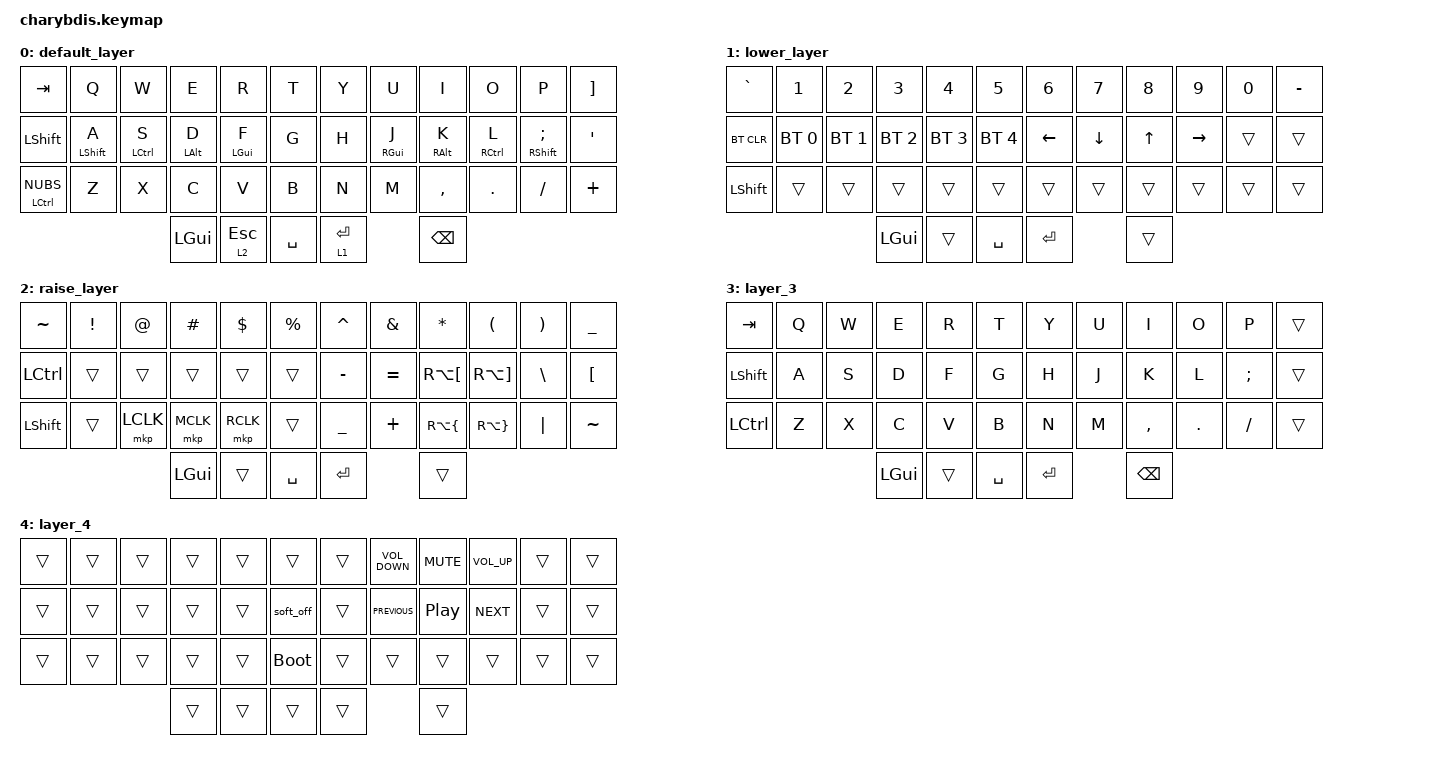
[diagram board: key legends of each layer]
#include <behaviors/mouse_keys.dtsi>
#include <behaviors.dtsi>
#include <dt-bindings/zmk/bt.h>
#include <dt-bindings/zmk/keys.h>
#include <dt-bindings/zmk/mouse.h>
#include <dt-bindings/zmk/outputs.h>

/ {
    chosen { zmk,matrix_transform = &default_transform; };
};

/ {
    behaviors {
        hml: homewrow_mods_left {
            compatible = "zmk,behavior-hold-tap";
            label = "homewrow_mods_left";
            bindings = <&kp>, <&kp>;

            #binding-cells = <2>;
            quick-tap-ms = <175>;
            tapping-term-ms = <200>;
            require-prior-idle-ms = <150>;
            hold-trigger-key-positions = <31 39 40 41 30 18 19 32 20 21 33 35 34 23 22 10 11 9 8 7 6>;
            flavor = "balanced";
            hold-trigger-on-release;             // delay positional check until key-release
        };
       
        hmr: homewrow_mods_right {
            compatible = "zmk,behavior-hold-tap";
            label = "HOMEROW_MODS_RIGHT_HAND";
            bindings = <&kp>, <&kp>;

            #binding-cells = <2>;
            quick-tap-ms = <175>;
            tapping-term-ms = <200>;
            require-prior-idle-ms = <150>;
            hold-trigger-key-positions = <38 0 1 2 3 4 5 12 13 14 15 16 17 24 25 26 27 28 29 36 37 38>;
            flavor = "balanced";
            hold-trigger-on-release;             // delay positional check until key-release
        };

        layers: layers {
            compatible = "zmk,behavior-hold-tap";
            label = "LAYERS";
            bindings = <&mo>, <&kp>;

            #binding-cells = <2>;
            tapping-term-ms = <200>;
            quick-tap-ms = <0>;
            require-prior-idle-ms = <0>;
            flavor = "balanced";
        };
    };

    combos {
        compatible = "zmk,combos";

        CapsWord {
            bindings = <&caps_word>;
            key-positions = <17 18>;
            layers = <0>;
        };


    };

    macros {
        VSplit: VSplit {
            compatible = "zmk,behavior-macro";
            #binding-cells = <0>;
            bindings = <&kp LEFT_SHIFT &kp SEMI &kp LS(V) &kp LS(S) &kp LS(P) &kp RET>;
            label = "VSPLIT";
        };

        HSplit: HSplit {
            compatible = "zmk,behavior-macro";
            #binding-cells = <0>;
            bindings = <&kp LEFT_SHIFT &kp SEMI &kp LS(S) &kp LS(P) &kp RET>;
            label = "HSPLIT";
        };
    };

keymap {
        compatible = "zmk,keymap";

        default_layer {
            // -----------------------------------------------------------------------------------------
            // |  TAB |  Q  |  W  |  E  |  R  |  T  |   |  Y  |  U   |  I  |  O  |  P  | BKSP |
            // | CTRL |  A  |  S  |  D  |  F  |  G  |   |  H  |  J   |  K  |  L  |  ;  |  '   |
            // | SHFT |  Z  |  X  |  C  |  V  |  B  |   |  N  |  M   |  ,  |  .  |  /  | ESC  |
            //                    | GUI | LWR | SPC |   | ENT | RSE  | ALT |

            bindings = <
&kp TAB         &kp Q              &kp W         &kp E            &kp R             &kp T        &kp Y  &kp U          &kp I             &kp O         &kp P            &kp RIGHT_BRACKET
&kp LSHFT       &hml LEFT_SHIFT A  &hml LCTRL S  &hml LEFT_ALT D  &hml LGUI F       &kp G        &kp H  &hmr RGUI J    &hmr RIGHT_ALT K  &hmr RCTRL L  &hmr RSHFT SEMI  &kp SQT
&mt LCTRL NUBS  &kp Z              &kp X         &kp C            &kp V             &kp B        &kp N  &kp M          &kp COMMA         &kp DOT       &kp FSLH         &kp PLUS
                                                 &kp LGUI         &layers 2 ESCAPE  &kp SPACE    &layers 1 ENTER  &kp BACKSPACE 
            >;
        };

        lower_layer {
            // -----------------------------------------------------------------------------------------
            // |  TAB |  1  |  2  |  3  |  4  |  5  |   |  6  |  7  |  8  |  9  |  0  | BKSP |
            // | BTCLR| BT1 | BT2 | BT3 | BT4 | BT5 |   | LFT | DWN |  UP | RGT |     |      |
            // | SHFT |     |     |     |     |     |   |     |     |     |     |     |      |
            //                    | GUI |     | SPC |   | ENT |     | ALT |

            bindings = <
&kp GRAVE   &kp N1        &kp N2        &kp N3        &kp N4        &kp N5          &kp N6    &kp N7    &kp N8    &kp N9     &kp N0  &kp MINUS
&bt BT_CLR  &bt BT_SEL 0  &bt BT_SEL 1  &bt BT_SEL 2  &bt BT_SEL 3  &bt BT_SEL 4    &kp LEFT  &kp DOWN  &kp UP    &kp RIGHT  &trans  &trans
&kp LSHFT   &trans        &trans        &trans        &trans        &trans          &trans    &trans    &trans    &trans     &trans  &trans

                                        &kp LGUI      &trans        &kp SPACE       &kp RET   &trans              >;
        };

        raise_layer {
            // -----------------------------------------------------------------------------------------
            // |  TAB |  !  |  @  |  #  |  $  |  %  |   |  ^  |  &  |  *  |  (  |  )  | BKSP |
            // | CTRL |     |     |     |     |     |   |  -  |  =  |  [  |  ]  |  \  |  `   |
            // | SHFT |     |     |     |     |     |   |  _  |  +  |  {  |  }  | "|" |  ~   |
            //                    | GUI |     | SPC |   | ENT |     | ALT |

            bindings = <
&kp TILDE  &kp EXCL  &kp AT  &kp HASH  &kp DLLR  &kp PRCNT    &kp CARET  &kp AMPS   &kp ASTERISK  &kp LPAR      &kp RPAR  &kp UNDER
&kp LCTRL  &trans    &trans  &trans    &trans    &trans       &kp MINUS  &kp EQUAL  &kp RA(LBKT)  &kp RA(RBKT)  &kp BSLH  &kp LEFT_BRACKET
&kp LSHFT  &trans    &mkp LCLK &mkp MCLK &mkp RCLK &trans       &kp UNDER  &kp PLUS   &kp RA(LBRC)  &kp RA(RBRC)  &kp PIPE  &kp TILDE
                             &kp LGUI  &trans    &kp SPACE    &kp RET    &trans                >;
        };

        layer_3 {
            bindings = <
&kp TAB    &kp Q  &kp W  &kp E     &kp R   &kp T        &kp Y      &kp U          &kp I          &kp O    &kp P     &trans
&kp LSHFT  &kp A  &kp S  &kp D     &kp F   &kp G        &kp H      &kp J          &kp K          &kp L    &kp SEMI  &trans
&kp LCTRL  &kp Z  &kp X  &kp C     &kp V   &kp B        &kp N      &kp M          &kp COMMA      &kp DOT  &kp FSLH  &trans
                         &kp LGUI  &trans  &kp SPACE    &kp ENTER  &kp BACKSPACE             >;
        };

        layer_4 {
            bindings = <
&trans  &trans  &trans  &trans  &trans  &trans         &trans  &kp C_VOLUME_DOWN  &kp C_MUTE        &kp C_VOLUME_UP  &trans  &trans
&trans  &trans  &trans  &trans  &trans  &soft_off      &trans  &kp C_PREVIOUS     &kp C_PLAY_PAUSE  &kp C_NEXT       &trans  &trans
&trans  &trans  &trans  &trans  &trans  &bootloader    &trans  &trans             &trans            &trans           &trans  &trans
                        &trans  &trans  &trans         &trans  &trans                         >;
        };
    };
};
